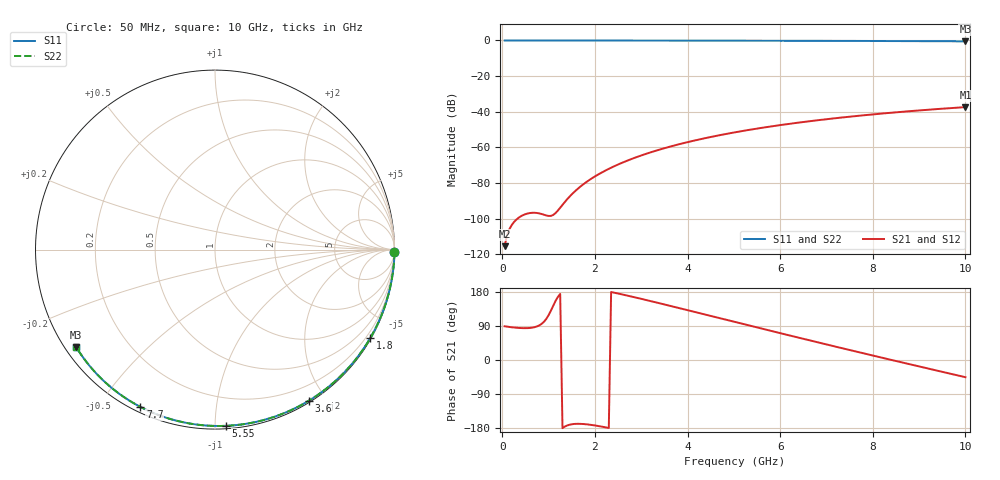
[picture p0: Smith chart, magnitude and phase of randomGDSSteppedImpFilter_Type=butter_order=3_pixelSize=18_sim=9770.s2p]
! freq	dB(S11)	phase(S11)	dB(S12)	phase(S12)
!  dB(S21)	phase(S21)	dB(S22)	phase(S22)
!S-par simulation data
#  GHz  S  DB  R 50
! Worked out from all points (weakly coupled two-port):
!   200 points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, 50 MHz to 10 GHz, reference 50 ohm
!   highest |S21| = -37.44 dB at 10 GHz (marker M1); lowest = -115.5 dB at 50 MHz (marker M2)
!   lowest |S11| = -0.5 dB at 10 GHz (marker M3), VSWR 35.44, Z = 1.55 - j15.8 ohm
!   |S11| at or under -10 dB: nowhere
!   |S22| runs from -0.5 to 0.0 dB; largest |S21 - S12| = 0
!   S11 on the Smith chart (normalised r, x): 50 MHz: open; 1.8 GHz: 0.03, -3.76; 3.6 GHz: 0.02, -1.80; 5.55 GHz: 0.02, -1.06; 7.7 GHz: 0.02, -0.63; 10 GHz: 0.03, -0.32
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0.05  -0.00 -0.8  -115.53 89.0  -115.53 89.0  -0.00 -0.8
0.45  -0.01 -7.6  -98.07 84.1  -98.07 84.1  -0.01 -7.6
0.9  -0.02 -15.0  -97.87 100.9  -97.87 100.9  -0.02 -15.0
1.3  -0.03 -21.6  -92.28 -179.9  -92.28 -179.9  -0.03 -21.6
1.75  -0.04 -29.0  -80.76 -168.9  -80.76 -168.9  -0.04 -29.0
1.8  -0.04 -29.8  -79.80 -169.5  -79.80 -169.5  -0.04 -29.8
1.95  -0.04 -32.2  -77.17 -171.7  -77.17 -171.7  -0.04 -32.2
2.1  -0.04 -34.6  -74.85 -174.7  -74.85 -174.7  -0.04 -34.6
2.3  -0.05 -37.8  -72.10 -179.4  -72.10 -179.4  -0.05 -37.8
2.5  -0.05 -41.0  -69.67 175.4  -69.67 175.4  -0.05 -41.0
2.9  -0.06 -47.3  -65.51 164.3  -65.51 164.3  -0.06 -47.3
3.4  -0.07 -55.0  -61.26 149.6  -61.26 149.6  -0.07 -55.0
3.6  -0.08 -58.1  -59.78 143.6  -59.78 143.6  -0.08 -58.1
4.3  -0.10 -68.6  -55.32 122.4  -55.32 122.4  -0.10 -68.5
5.05  -0.12 -79.4  -51.46 99.6  -51.46 99.6  -0.12 -79.4
5.55  -0.14 -86.5  -49.29 84.4  -49.29 84.4  -0.14 -86.5
6.1  -0.17 -94.1  -47.17 67.9  -47.17 67.9  -0.17 -94.1
6.7  -0.20 -102.2  -45.15 49.9  -45.15 49.9  -0.20 -102.2
7.7  -0.26 -115.4  -42.28 20.5  -42.28 20.5  -0.26 -115.4
8.35  -0.32 -123.8  -40.70 1.7  -40.70 1.7  -0.32 -123.8
9.2  -0.40 -134.6  -38.90 -22.7  -38.90 -22.7  -0.40 -134.6
10  -0.49 -144.8  -37.44 -45.4  -37.44 -45.4  -0.49 -144.8
